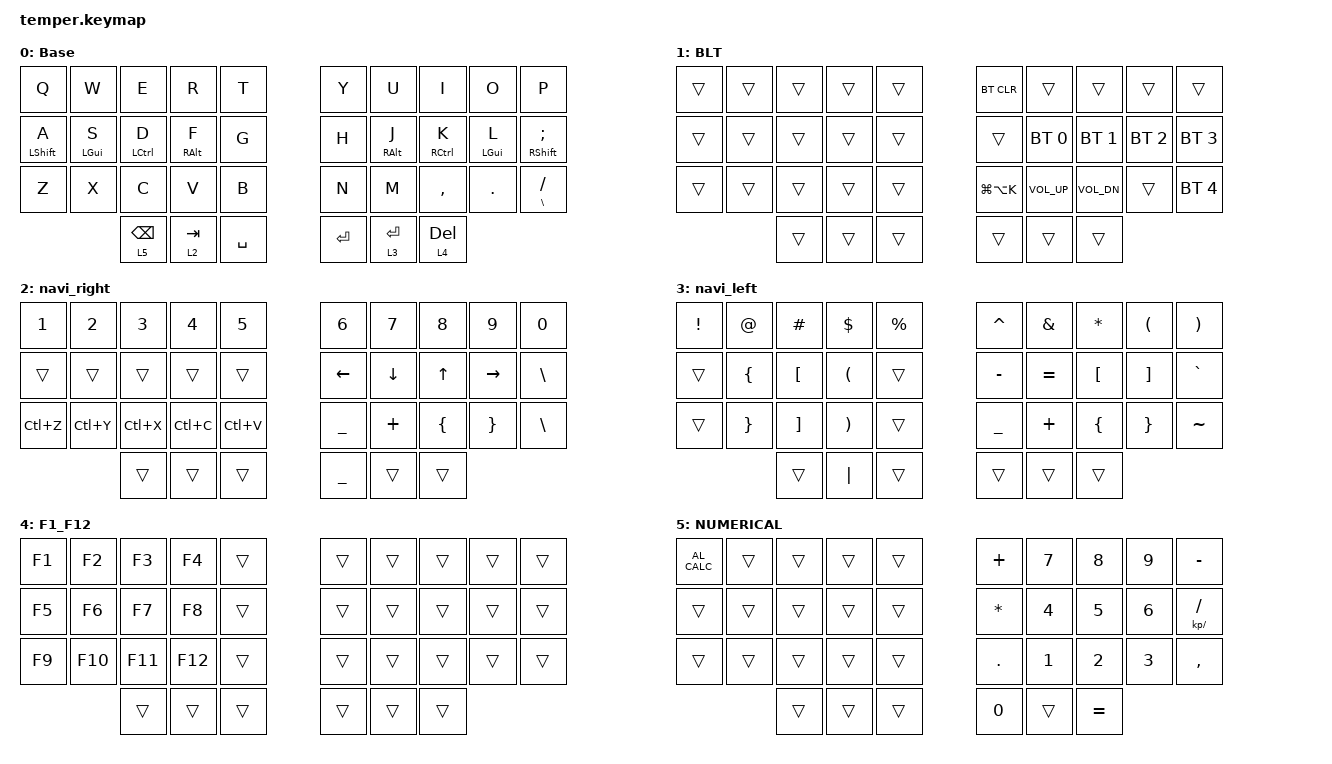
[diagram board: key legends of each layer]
/*
 * Copyright (c) 2020 duckyb
 *
 * SPDX-License-Identifier: MIT
 */

#include <dt-bindings/zmk/mouse.h>
#include <input/processors.dtsi>

#define ZMK_POINTING_DEFAULT_MOVE_VAL 1800  // 600, 1200
#define ZMK_MOUSE_DEFAULT_SCRL_VAL 20    // 10

#include <behaviors.dtsi>
#include <dt-bindings/zmk/bt.h>
#include <dt-bindings/zmk/keys.h>

&mmv_input_listener {
    precisionnav {
        layers = <1>;
        input-processors = <&zip_xy_scaler 1 3>;
    };

    precisionnum {
        layers = <2>;
        input-processors = <&zip_xy_scaler 1 2>;
    };
};

&mt {
    tapping-term-ms = <150>;
    flavor = "balanced";
};

&lt { tapping-term-ms = <165>; };

/ {
    behaviors {
        mmv {
            acceleration-exponent = <2>; // 1
            time-to-max-speed-ms = <40>; // 40
            delay-ms = <0>; // 0
        };

        hm: hm {
            compatible = "zmk,behavior-hold-tap";
            label = "HM";
            bindings = <&kp>, <&kp>;

            #binding-cells = <2>;
            quick-tap-ms = <65>;
            tapping-term-ms = <125>;
            global-quick-tap;
            flavor = "tap-preferred";
        };

        hml: hml {
            compatible = "zmk,behavior-hold-tap";
            label = "HML";
            bindings = <&kp>, <&kp>;

            #binding-cells = <2>;
            tapping-term-ms = <105>;
            quick-tap-ms = <60>;
            flavor = "hold-preferred";
            hold-trigger-key-positions = <0 1 2 3 4 20 21 22 23 24 14 25 15 5 6 16 26 27 17 7 8 18 28 29 19 9 11 12 13>;
            require-prior-idle-ms = <70>;
            hold-trigger-on-release;
        };

        hmr: hmr {
            compatible = "zmk,behavior-hold-tap";
            label = "HMR";
            bindings = <&kp>, <&kp>;

            #binding-cells = <2>;
            tapping-term-ms = <105>;
            quick-tap-ms = <60>;
            flavor = "hold-preferred";
            hold-trigger-key-positions = <0 10 20 21 1 11 12 2 3 4 24 14 13 23 22 25 26 28 27 29 9 8 7 6 5 15 16 17 18 30 31 32 33 34 35>;
            require-prior-idle-ms = <70>;
            hold-trigger-on-release;
        };

        mo_tog: mo_tog {
            compatible = "zmk,behavior-hold-tap";
            label = "MO_TOG";
            bindings = <&mo>, <&tog>;

            #binding-cells = <2>;
            tapping-term-ms = <200>;
            quick-tap-ms = <180>;
        };

        space_alt: space_alt {
            compatible = "zmk,behavior-hold-tap";
            label = "SPACE_ALT";
            bindings = <&kp>, <&kp>;

            #binding-cells = <2>;
            tapping-term-ms = <235>;
            quick-tap-ms = <100>;
            flavor = "tap-preferred";
            hold-trigger-key-positions = <10 12 20 21 16 17 19 6>;
            hold-trigger-on-release;
        };

        hm_shift_r: hm_shift_r {
            compatible = "zmk,behavior-hold-tap";
            label = "HM_SHIFT_R";
            bindings = <&kp>, <&kp>;

            #binding-cells = <2>;
            hold-trigger-on-release;
            hold-while-undecided;
            tapping-term-ms = <200>;
            hold-trigger-key-positions = <0 1 2 3 4 10 11 12 13 14 21 22 23 24 20>;
        };

        hm_shift_l: hm_shift_l {
            compatible = "zmk,behavior-hold-tap";
            label = "HM_SHIFT_L";
            bindings = <&kp>, <&kp>;

            #binding-cells = <2>;
            hold-trigger-on-release;
            hold-while-undecided;
            tapping-term-ms = <200>;
            hold-trigger-key-positions = <5 6 7 8 9 15 16 17 18 19 25 26 27 28 29>;
        };

        hm_2: hm_2 {
            compatible = "zmk,behavior-hold-tap";
            label = "HM_2";
            bindings = <&kp>, <&kp>;

            #binding-cells = <2>;
            hold-trigger-on-release;
            tapping-term-ms = <200>;
            flavor = "tap-preferred";
        };
    };

    combos {
        compatible = "zmk,combos";

        Caps {
            bindings = <&kp CAPSLOCK>;
            key-positions = <10 19>;
            layers = <0>;
        };

        semicolon {
            bindings = <&kp SEMICOLON>;
            key-positions = <27 28>;
            layers = <0>;
        };

        minus {
            bindings = <&kp MINUS>;
            key-positions = <18 19>;
            layers = <0>;
            timeout-ms = <150>;
        };

        boot_l {
            bindings = <&bootloader>;
            key-positions = <0 4 32>;
            layers = <0>;
        };

        esc_left {
            bindings = <&kp ESCAPE>;
            key-positions = <0 1>;
            layers = <0>;
            timeout-ms = <100>;
        };

        bluetooth {
            bindings = <&mo 1>;
            key-positions = <32 33>;
        };

        del_left {
            bindings = <&kp DEL>;
            key-positions = <20 23>;
            timeout-ms = <200>;
        };

        boot_r {
            bindings = <&bootloader>;
            key-positions = <33 5 9>;
            layers = <0>;
        };
    };

    keymap {
        compatible = "zmk,keymap";

        base {
            display-name = "Base";
            bindings = <
  &kp Q                     &kp W             &kp E                 &kp R              &kp T        &kp Y      &kp U              &kp I                  &kp O             &kp P
  &hm_shift_l LEFT_SHIFT A  &hm_2 LEFT_GUI S  &hm_2 LEFT_CONTROL D  &hm_2 RIGHT_ALT F  &kp G        &kp H      &hm_2 RIGHT_ALT J  &hm_2 RIGHT_CONTROL K  &hm_2 LEFT_GUI L  &hm_shift_r RIGHT_SHIFT SEMICOLON
  &kp Z                     &kp X             &kp C                 &kp V              &kp B        &kp N      &kp M              &kp COMMA              &kp DOT           &mt BACKSLASH SLASH
                                              &lt 5 BACKSPACE       &lt 2 TAB          &kp SPACE    &kp ENTER  &lt 3 ENTER        &lt 4 DEL
            >;
        };

        blt {
            display-name = "BLT";
            bindings = <
  &trans  &trans  &trans  &trans  &trans    &bt BT_CLR     &trans        &trans        &trans        &trans
  &trans  &trans  &trans  &trans  &trans    &trans         &bt BT_SEL 0  &bt BT_SEL 1  &bt BT_SEL 2  &bt BT_SEL 3
  &trans  &trans  &trans  &trans  &trans    &kp LG(LA(K))  &kp C_VOL_UP  &kp C_VOL_DN  &trans        &bt BT_SEL 4
                  &trans  &trans  &trans    &trans         &trans        &trans
            >;
        };

        navi_right {
            bindings = <
  &kp NUMBER_1  &kp NUMBER_2  &kp NUMBER_3  &kp NUMBER_4  &kp NUMBER_5    &kp NUMBER_6    &kp NUMBER_7  &kp NUMBER_8    &kp NUMBER_9     &kp NUMBER_0
  &trans        &trans        &trans        &trans        &trans          &kp LEFT        &kp DOWN      &kp UP          &kp RIGHT        &kp BACKSLASH
  &kp LC(Z)     &kp LC(Y)     &kp LC(X)     &kp LC(C)     &kp LC(V)       &kp UNDERSCORE  &kp PLUS      &kp LEFT_BRACE  &kp RIGHT_BRACE  &kp BACKSLASH
                              &trans        &trans        &trans          &kp UNDERSCORE  &trans        &trans
            >;
        };

        navi_left {
            bindings = <
  &kp EXCLAMATION  &kp AT_SIGN      &kp HASH           &kp DOLLAR             &kp PERCENT    &kp CARET       &kp AMPERSAND  &kp ASTERISK      &kp LEFT_PARENTHESIS  &kp RIGHT_PARENTHESIS
  &trans           &kp LEFT_BRACE   &kp LEFT_BRACKET   &kp LEFT_PARENTHESIS   &trans         &kp MINUS       &kp EQUAL      &kp LEFT_BRACKET  &kp RIGHT_BRACKET     &kp GRAVE
  &trans           &kp RIGHT_BRACE  &kp RIGHT_BRACKET  &kp RIGHT_PARENTHESIS  &trans         &kp UNDERSCORE  &kp PLUS       &kp LEFT_BRACE    &kp RIGHT_BRACE       &kp TILDE
                                    &trans             &kp PIPE               &trans         &trans          &trans         &trans
            >;
        };

        F1_F12 {
            bindings = <
  &kp F1  &kp F2   &kp F3   &kp F4   &trans    &trans  &trans  &trans  &trans  &trans
  &kp F5  &kp F6   &kp F7   &kp F8   &trans    &trans  &trans  &trans  &trans  &trans
  &kp F9  &kp F10  &kp F11  &kp F12  &trans    &trans  &trans  &trans  &trans  &trans
                   &trans   &trans   &trans    &trans  &trans  &trans
            >;
        };

        NUMERICAL {
            bindings = <
  &kp C_AL_CALC  &trans  &trans  &trans  &trans    &kp PLUS      &kp N7        &kp N8        &kp N9        &kp MINUS
  &trans         &trans  &trans  &trans  &trans    &kp ASTERISK  &kp NUMBER_4  &kp N5        &kp NUMBER_6  &mt KP_DIVIDE SLASH
  &trans         &trans  &trans  &trans  &trans    &kp PERIOD    &kp NUMBER_1  &kp NUMBER_2  &kp NUMBER_3  &kp COMMA
                         &trans  &trans  &trans    &kp N0        &trans        &kp EQUAL
            >;
        };
    };
};
